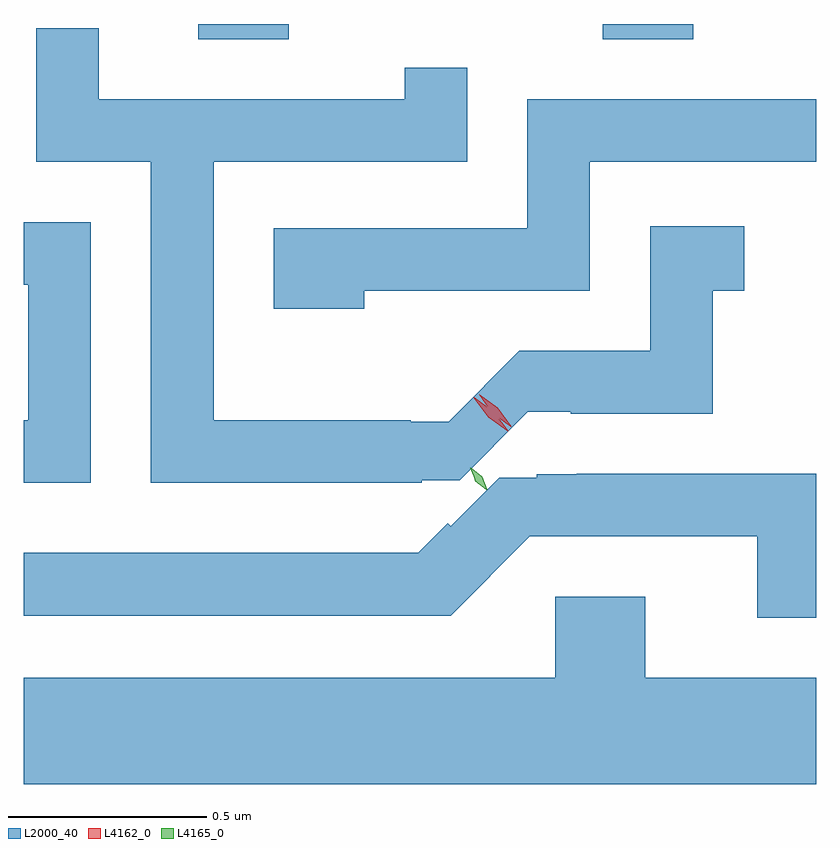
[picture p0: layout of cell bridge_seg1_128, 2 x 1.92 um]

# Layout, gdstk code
import gdstk
lib = gdstk.Library(unit=1e-6, precision=1e-09)
def R(c, l, rs):  # rectangles x0, y0, x1, y1
    for r in rs: c.add(gdstk.rectangle(r[:2], r[2:], *l))
def P(c, l, *ps):  # polygons
    for p in ps: c.add(gdstk.Polygon(p, *l))
L2000_40 = (2000, 40)
L4162_0 = (4162, 0)
L4165_0 = (4165, 0)

bridge_seg1_128 = lib.new_cell('bridge_seg1_128')
R(bridge_seg1_128, L2000_40, [(1435.271,848.176,1435.499,848.214), (1436.291,848.176,1436.519,848.214)])
P(bridge_seg1_128, L2000_40, [(1435.835,847.063),(1435.93,847.063),(1436.102,847.235),(1436.21,847.235),(1436.21,847.231),(1436.569,847.231),(1436.569,847.541),(1436.648,847.541),(1436.648,847.704),(1436.411,847.704),(1436.411,847.389),(1436.081,847.389),(1435.902,847.21),(1435.807,847.21),(1435.807,847.214),(1435.309,847.214),(1435.309,847.866),(1435.949,847.866),(1435.949,848.103),(1435.791,848.103),(1435.791,848.024),(1435.019,848.024),(1435.019,848.203),(1434.861,848.203),(1434.861,847.866),(1435.151,847.866),(1435.151,847.056),(1435.835,847.056)],
  [(1435.689,847.541),(1436.259,847.541),(1436.259,847.866),(1436.83,847.866),(1436.83,848.024),(1436.101,848.024),(1436.101,847.699),(1435.461,847.699),(1435.461,847.496),(1435.689,847.496)],
  [(1434.999,847.714),(1434.83,847.714),(1434.83,847.556),(1434.841,847.556),(1434.841,847.214),(1434.83,847.214),(1434.83,847.056),(1434.999,847.056)],
  [(1436.83,847.079),(1436.225,847.079),(1436.225,847.078),(1436.125,847.078),(1436.125,847.069),(1436.03,847.069),(1435.907,846.947),(1435.9,846.954),(1435.825,846.879),(1434.83,846.879),(1434.83,846.721),(1435.907,846.721),(1436.107,846.921),(1436.681,846.921),(1436.681,846.716),(1436.83,846.716)],
  [(1436.83,846.564),(1436.399,846.564),(1436.399,846.769),(1436.171,846.769),(1436.171,846.564),(1434.83,846.564),(1434.83,846.296),(1436.83,846.296)])
P(bridge_seg1_128, L4162_0, [(1436.052,847.186),(1436.002,847.222),(1435.966,847.271),(1435.966,847.272),(1435.967,847.272),(1436.016,847.236),(1436.053,847.187),(1436.053,847.186)],
  [(1436.059,847.198),(1436.012,847.232),(1435.979,847.278),(1435.979,847.279),(1435.98,847.279),(1436.026,847.246),(1436.06,847.199),(1436.06,847.198)])
P(bridge_seg1_128, L4165_0, [(1435.999,847.038),(1435.971,847.06),(1435.957,847.094),(1435.957,847.094),(1435.958,847.094),(1435.987,847.072),(1436,847.038),(1436,847.038)],
  [(1435.997,847.039),(1435.97,847.06),(1435.96,847.092),(1435.96,847.093),(1435.96,847.093),(1435.987,847.071),(1435.998,847.039),(1435.998,847.039)])

lib.write_gds('bridge_seg1_128.gds')
